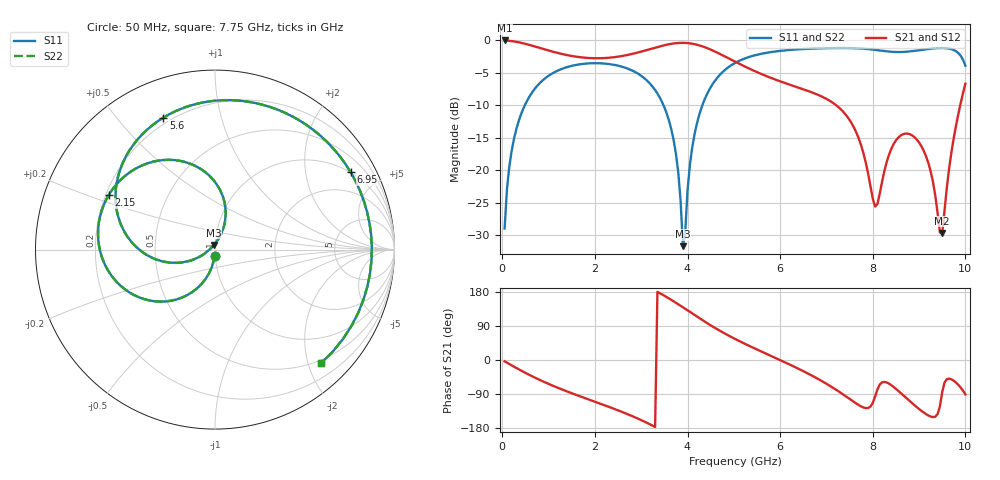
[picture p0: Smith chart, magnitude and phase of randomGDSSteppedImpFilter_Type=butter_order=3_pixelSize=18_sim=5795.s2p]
! freq	dB(S11)	phase(S11)	dB(S12)	phase(S12)
!  dB(S21)	phase(S21)	dB(S22)	phase(S22)
!S-par simulation data
#  GHz  S  DB  R 50
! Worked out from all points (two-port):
!   200 points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, 50 MHz to 10 GHz, reference 50 ohm
!   highest |S21| = -0.01 dB at 50 MHz (marker M1); lowest = -29.7 dB at 9.5 GHz (marker M2)
!   |S21| within 3 dB of the highest: start of sweep to 4.955 GHz
!   lowest |S11| = -31.7 dB at 3.9 GHz (marker M3), VSWR 1.05, Z = 49.3 + j2.49 ohm
!   |S11| at or under -10 dB: start of sweep to 486 MHz; 3.482 GHz to 4.32 GHz (838.6 MHz wide, 21.5 % of centre)
!   |S22| runs from -31.8 to -1.2 dB; largest |S21 - S12| = 0
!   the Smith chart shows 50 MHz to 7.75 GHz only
!   S11 on the Smith chart (normalised r, x): 50 MHz: 0.99, -0.07; 2.15 GHz: 0.21, +0.23; 5.6 GHz: 0.17, +0.67; 6.95 GHz: 0.99, +3.52; 7.75 GHz: 0.44, -2.24
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0.05  -28.95 -93.7  -0.01 -3.6  -0.01 -3.6  -28.95 -93.7
0.2  -17.09 -104.5  -0.11 -14.1  -0.11 -14.1  -17.09 -104.5
0.5  -9.78 -124.5  -0.53 -34.0  -0.53 -34.0  -9.78 -124.5
1.75  -3.61 170.6  -2.64 -99.0  -2.64 -99.0  -3.61 170.6
2.15  -3.54 152.9  -2.74 -116.8  -2.74 -116.8  -3.54 152.9
3.4  -8.79 88.5  -0.92 176.6  -0.92 176.6  -8.79 88.4
3.75  -17.45 68.9  -0.43 151.0  -0.43 151.0  -17.46 68.6
3.9  -31.66 104.7  -0.38 139.1  -0.38 139.1  -31.84 104.0
4.05  -19.24 -154.9  -0.45 126.9  -0.45 126.9  -19.25 -154.5
4.25  -11.52 -164.3  -0.76 110.8  -0.76 110.8  -11.52 -164.1
5.05  -3.38 142.7  -3.35 54.1  -3.35 54.1  -3.38 142.7
5.6  -2.05 111.3  -5.19 22.1  -5.19 22.1  -2.05 111.4
6.7  -1.26 47.3  -8.04 -42.1  -8.04 -42.1  -1.27 47.3
6.95  -1.21 29.7  -8.81 -59.1  -8.81 -59.1  -1.21 29.7
7.4  -1.17 -8.5  -11.29 -94.2  -11.29 -94.2  -1.17 -8.5
7.75  -1.25 -46.8  -16.19 -122.6  -16.19 -122.6  -1.25 -46.9
8.05  -1.46 -86.8  -25.57 -96.6  -25.57 -96.6  -1.46 -86.9
8.35  -1.72 -131.0  -17.60 -62.4  -17.60 -62.4  -1.72 -131.1
8.85  -1.65 158.7  -14.62 -114.1  -14.62 -114.1  -1.65 158.6
9.2  -1.32 116.6  -18.88 -146.4  -18.88 -146.4  -1.32 116.6
9.5  -1.17 83.9  -29.65 -84.4  -29.65 -84.4  -1.17 83.9
10  -3.90 23.8  -6.66 -90.8  -6.66 -90.8  -3.90 23.8
